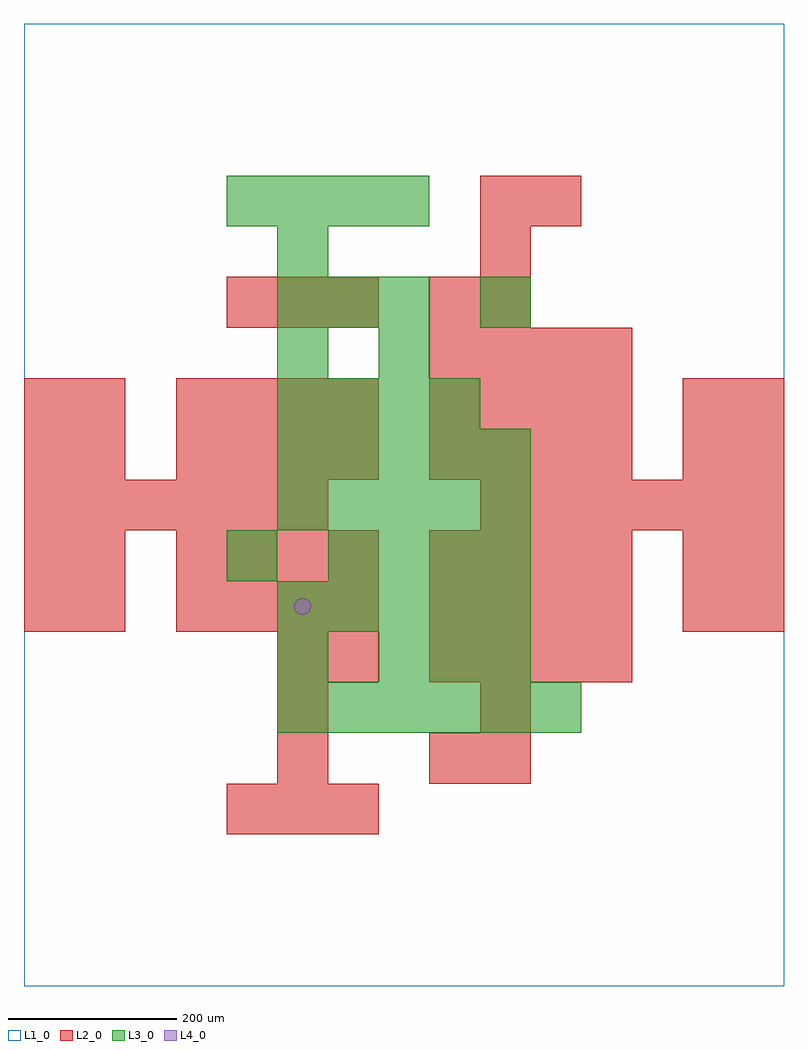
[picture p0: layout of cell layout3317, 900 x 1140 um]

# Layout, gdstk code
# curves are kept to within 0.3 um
import gdstk
lib = gdstk.Library(unit=1e-6, precision=1e-09)
def R(c, l, rs):  # rectangles x0, y0, x1, y1
    for r in rs: c.add(gdstk.rectangle(r[:2], r[2:], *l))
def A(c, l, x, y, w, h, nx, ny, dx, dy):  # array of equal rectangles
    R(c, l, [(x+i*dx, y+j*dy, x+i*dx+w, y+j*dy+h) for i in range(nx) for j in range(ny)])
def P(c, l, *ps):  # polygons
    for p in ps: c.add(gdstk.Polygon(p, *l))
L1_0 = (1, 0)
L2_0 = (2, 0)
L3_0 = (3, 0)
L4_0 = (4, 0)

layout3317 = lib.new_cell('layout3317')
R(layout3317, L1_0, [(0,0,900,1140)])
A(layout3317, L2_0, 240, 180, 60, 60, 3, 2, 60, 600)
A(layout3317, L2_0, 300, 240, 60, 60, 1, 3, 0, 60)
A(layout3317, L2_0, 480, 360, 60, 60, 4, 3, 60, 60)
A(layout3317, L2_0, 180, 420, 60, 60, 4, 2, 60, 60)
A(layout3317, L2_0, 0, 540, 60, 60, 6, 1, 60, 0)
A(layout3317, L2_0, 540, 540, 60, 60, 6, 1, 60, 0)
A(layout3317, L2_0, 180, 600, 60, 60, 4, 2, 60, 60)
A(layout3317, L2_0, 480, 600, 60, 60, 4, 3, 60, 60)
A(layout3317, L2_0, 540, 780, 60, 60, 1, 3, 0, 60)
R(layout3317, L2_0, [(480,240,540,300), (540,240,600,300), (540,300,600,360), (360,360,420,420), (0,420,60,480), (60,420,120,480), (780,420,840,480), (840,420,900,480), (0,480,60,540), (60,480,120,540), (780,480,840,540), (840,480,900,540), (0,600,60,660), (60,600,120,660), (780,600,840,660), (840,600,900,660), (0,660,60,720), (60,660,120,720), (780,660,840,720), (840,660,900,720), (480,780,540,840), (600,900,660,960)])
A(layout3317, L3_0, 300, 300, 60, 60, 6, 1, 60, 0)
A(layout3317, L3_0, 420, 360, 60, 60, 3, 1, 60, 0)
A(layout3317, L3_0, 300, 420, 60, 60, 5, 2, 60, 120)
A(layout3317, L3_0, 360, 480, 60, 60, 4, 1, 60, 0)
A(layout3317, L3_0, 300, 600, 60, 60, 5, 1, 60, 0)
A(layout3317, L3_0, 300, 660, 60, 60, 4, 1, 60, 0)
A(layout3317, L3_0, 300, 780, 60, 60, 3, 1, 60, 0)
A(layout3317, L3_0, 240, 900, 60, 60, 4, 1, 60, 0)
R(layout3317, L3_0, [(300,360,360,420), (240,480,300,540), (300,720,360,780), (420,720,480,780), (540,780,600,840), (300,840,360,900)])
P(layout3317, L4_0, [(340,450),(339.239,453.827),(337.071,457.071),(333.827,459.239),(330,460),(326.173,459.239),(322.929,457.071),(320.761,453.827),(320,450),(320.761,446.173),(322.929,442.929),(326.173,440.761),(330,440),(333.827,440.761),(337.071,442.929),(339.239,446.173)])

lib.write_gds('layout3317.gds')
